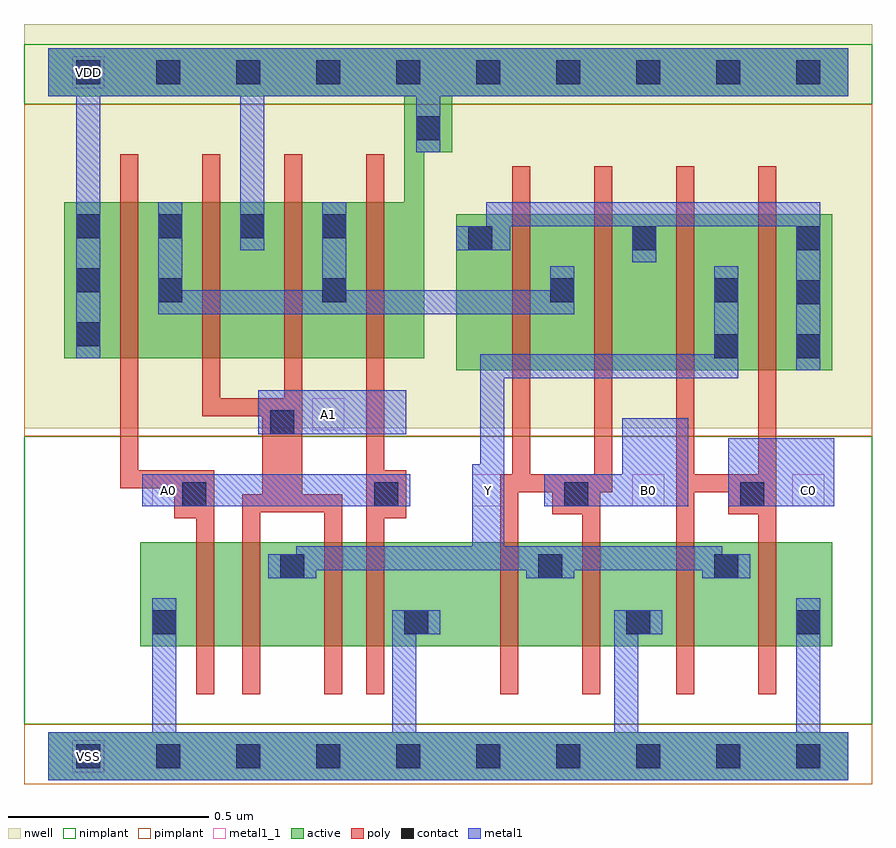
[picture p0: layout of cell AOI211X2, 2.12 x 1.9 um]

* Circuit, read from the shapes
.subckt AOI211X2 A0 A1 B0 C0 VDD VSS Y
M1 n1 A0 VSS VSS nfet w=0.26u l=0.045u
M2 Y A1 n1 VSS nfet w=0.26u l=0.045u
M3 n2 A1 Y VSS nfet w=0.26u l=0.045u
M4 VSS A0 n2 VSS nfet w=0.26u l=0.045u
M5 Y B0 VSS VSS nfet w=0.26u l=0.045u m=2
M6 Y C0 VSS VSS nfet w=0.26u l=0.045u m=2
M7 n3 A0 VDD VDD pfet w=0.39u l=0.045u m=2
M8 VDD A1 n3 VDD pfet w=0.39u l=0.045u m=2
M9 n3 B0 n4 VDD pfet w=0.39u l=0.045u m=2
M10 Y C0 n4 VDD pfet w=0.39u l=0.045u m=2
.ends

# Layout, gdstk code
import gdstk
lib = gdstk.Library(unit=1e-6, precision=5e-10)
def R(c, l, rs):  # rectangles x0, y0, x1, y1
    for r in rs: c.add(gdstk.rectangle(r[:2], r[2:], *l))
def A(c, l, x, y, w, h, nx, ny, dx, dy):  # array of equal rectangles
    R(c, l, [(x+i*dx, y+j*dy, x+i*dx+w, y+j*dy+h) for i in range(nx) for j in range(ny)])
def P(c, l, *ps):  # polygons
    for p in ps: c.add(gdstk.Polygon(p, *l))
active = (1, 0)
nwell = (2, 0)
poly = (3, 0)
nimplant = (4, 0)
pimplant = (5, 0)
contact = (6, 0)
metal1 = (7, 0)
metal1_1 = (7, 1)

aoi211x2 = lib.new_cell('AOI211X2')
R(aoi211x2, active, [(0,-0.06,2,0.06), (0.23,0.275,1.96,0.535), (1.02,0.965,1.96,1.355)])
P(aoi211x2, active, [(0,1.77),(2,1.77),(2,1.65),(1.01,1.65),(1.01,1.51),(0.94,1.51),(0.94,0.995),(0.04,0.995),(0.04,1.385),(0.89,1.385),(0.89,1.65),(0,1.65)])
R(aoi211x2, nwell, [(-0.06,0.82,2.06,1.83)])
P(aoi211x2, poly, [(0.18,1.505),(0.225,1.505),(0.225,0.715),(0.415,0.715),(0.415,0.155),(0.37,0.155),(0.37,0.595),(0.315,0.595),(0.315,0.67),(0.18,0.67)],
  [(0.385,1.505),(0.43,1.505),(0.43,0.895),(0.59,0.895),(0.59,1.505),(0.635,1.505),(0.635,0.655),(0.735,0.655),(0.735,0.155),(0.69,0.155),(0.69,0.61),(0.53,0.61),(0.53,0.155),(0.485,0.155),(0.485,0.655),(0.535,0.655),(0.535,0.85),(0.385,0.85)],
  [(0.795,1.505),(0.84,1.505),(0.84,0.715),(0.895,0.715),(0.895,0.595),(0.84,0.595),(0.84,0.155),(0.795,0.155)],
  [(1.16,1.475),(1.205,1.475),(1.205,0.705),(1.365,0.705),(1.365,1.475),(1.41,1.475),(1.41,0.66),(1.38,0.66),(1.38,0.155),(1.335,0.155),(1.335,0.605),(1.26,0.605),(1.26,0.66),(1.175,0.66),(1.175,0.155),(1.13,0.155),(1.13,0.705),(1.16,0.705)],
  [(1.57,1.475),(1.615,1.475),(1.615,0.705),(1.775,0.705),(1.775,1.475),(1.82,1.475),(1.82,0.155),(1.775,0.155),(1.775,0.605),(1.7,0.605),(1.7,0.66),(1.615,0.66),(1.615,0.155),(1.57,0.155)])
R(aoi211x2, nimplant, [(-0.06,0.08,2.06,0.8), (-0.06,1.63,2.06,1.78)])
R(aoi211x2, pimplant, [(-0.06,-0.07,2.06,0.08), (-0.06,0.8,2.06,1.63)])
A(aoi211x2, contact, 0.07, -0.03, 0.06, 0.06, 10, 2, 0.2, 1.71)
A(aoi211x2, contact, 1.05, 1.265, 0.06, 0.06, 3, 1, 0.41, 0)
A(aoi211x2, contact, 0.07, 1.295, 0.06, 0.06, 4, 1, 0.205, 0)
R(aoi211x2, contact, [(0.26,0.305,0.32,0.365), (0.89,0.305,0.95,0.365), (1.445,0.305,1.505,0.365), (1.87,0.305,1.93,0.365), (0.58,0.445,0.64,0.505), (1.225,0.445,1.285,0.505), (1.665,0.445,1.725,0.505), (0.335,0.625,0.395,0.685), (0.815,0.625,0.875,0.685), (1.29,0.625,1.35,0.685), (1.73,0.625,1.79,0.685), (0.555,0.805,0.615,0.865), (1.665,0.995,1.725,1.055), (1.87,0.995,1.93,1.055), (0.07,1.025,0.13,1.085), (1.87,1.13,1.93,1.19), (0.275,1.135,0.335,1.195), (0.685,1.135,0.745,1.195), (1.255,1.135,1.315,1.195), (1.665,1.135,1.725,1.195), (0.07,1.16,0.13,1.22), (0.92,1.54,0.98,1.6)])
R(aoi211x2, metal1, [(0.235,0.625,0.905,0.705), (1.7,0.625,1.965,0.795), (0.525,0.805,0.895,0.915)])
P(aoi211x2, metal1, [(0.26,0.395),(0.32,0.395),(0.32,0.06),(0.86,0.06),(0.86,0.365),(0.98,0.365),(0.98,0.305),(0.92,0.305),(0.92,0.06),(1.415,0.06),(1.415,0.365),(1.535,0.365),(1.535,0.305),(1.475,0.305),(1.475,0.06),(1.87,0.06),(1.87,0.395),(1.93,0.395),(1.93,0.06),(2,0.06),(2,-0.06),(0,-0.06),(0,0.06),(0.26,0.06)],
  [(0,1.77),(2,1.77),(2,1.65),(0.98,1.65),(0.98,1.51),(0.92,1.51),(0.92,1.65),(0.54,1.65),(0.54,1.265),(0.48,1.265),(0.48,1.65),(0.13,1.65),(0.13,0.995),(0.07,0.995),(0.07,1.65),(0,1.65)],
  [(0.275,1.385),(0.335,1.385),(0.335,1.165),(0.685,1.165),(0.685,1.385),(0.745,1.385),(0.745,1.165),(1.255,1.165),(1.255,1.225),(1.315,1.225),(1.315,1.105),(0.275,1.105)],
  [(1.095,1.385),(1.93,1.385),(1.93,0.965),(1.87,0.965),(1.87,1.325),(1.52,1.325),(1.52,1.235),(1.46,1.235),(1.46,1.325),(1.155,1.325),(1.155,1.265),(1.02,1.265),(1.02,1.325),(1.095,1.325)],
  [(1.665,1.225),(1.725,1.225),(1.725,0.945),(1.14,0.945),(1.14,0.525),(1.685,0.525),(1.685,0.505),(1.755,0.505),(1.755,0.445),(1.635,0.445),(1.635,0.465),(1.315,0.465),(1.315,0.445),(1.195,0.445),(1.195,0.465),(0.67,0.465),(0.67,0.445),(0.55,0.445),(0.55,0.505),(0.62,0.505),(0.62,0.525),(1.06,0.525),(1.06,0.73),(1.08,0.73),(1.08,1.005),(1.665,1.005)],
  [(1.435,0.845),(1.6,0.845),(1.6,0.625),(1.24,0.625),(1.24,0.705),(1.435,0.705)])
A(aoi211x2, metal1_1, 1.06, 0.625, 0.08, 0.08, 3, 1, 0.4, 0)
R(aoi211x2, metal1_1, [(0.06,-0.04,0.14,0.04), (0.26,0.625,0.34,0.705), (0.66,0.815,0.74,0.895), (0.06,1.67,0.14,1.75)])
aoi211x2.add(gdstk.Label('Y', (1.1,0.665), layer=7, texttype=1))
aoi211x2.add(gdstk.Label('A1', (0.7,0.855), layer=7, texttype=1))
aoi211x2.add(gdstk.Label('A0', (0.3,0.665), layer=7, texttype=1))
aoi211x2.add(gdstk.Label('B0', (1.5,0.665), layer=7, texttype=1))
aoi211x2.add(gdstk.Label('C0', (1.9,0.665), layer=7, texttype=1))
aoi211x2.add(gdstk.Label('VDD', (0.1,1.71), layer=7, texttype=1))
aoi211x2.add(gdstk.Label('VSS', (0.1,0), layer=7, texttype=1))
aoi211x2.add(gdstk.Label('AOI211X2', (0,0), layer=63, texttype=0))

lib.write_gds('AOI211X2.gds')
